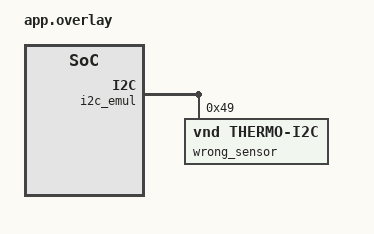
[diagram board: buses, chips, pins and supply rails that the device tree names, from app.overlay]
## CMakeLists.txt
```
cmake_minimum_required(VERSION 3.20.0)
# The application's devicetree binding lives in its dts/bindings.
list(APPEND DTS_ROOT ${CMAKE_CURRENT_SOURCE_DIR}/../..)
find_package(Zephyr REQUIRED HINTS $ENV{ZEPHYR_BASE})
project(sensor_node_system_tests LANGUAGES C)

set(APP ${CMAKE_CURRENT_SOURCE_DIR}/../../src)
target_sources(app PRIVATE
  src/test_driver.c
  src/test_node.c
  src/test_shell.c
  ${APP}/acquisition.c
  ${APP}/node.c
  ${APP}/sensor_source.c
  ${APP}/shell_cmds.c
  ${APP}/drivers/thermo_i2c.c
  ${APP}/drivers/thermo_i2c_emul.c
  ${APP}/lib/ring_buffer.c
  ${APP}/lib/moving_average.c
  ${APP}/lib/alarm.c
)
target_include_directories(app PRIVATE ${APP} ${APP}/lib)
```

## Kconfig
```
rsource "../../Kconfig.app"

source "Kconfig.zephyr"
```

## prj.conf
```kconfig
CONFIG_ZTEST=y
CONFIG_ZTEST_SHUFFLE=n

CONFIG_SENSOR=y
CONFIG_I2C=y
CONFIG_EMUL=y
CONFIG_LOG=y

# Shell commands are run through the dummy backend and their output is checked.
CONFIG_SHELL=y
CONFIG_SHELL_BACKEND_SERIAL=n
CONFIG_SHELL_BACKEND_DUMMY=y
CONFIG_SHELL_BACKEND_DUMMY_BUF_SIZE=1024
CONFIG_SHELL_DUMMY_INIT_LOG_LEVEL_NONE=y
CONFIG_SHELL_LOG_BACKEND=n

CONFIG_ASSERT=y
CONFIG_COMPILER_WARNINGS_AS_ERRORS=y
```

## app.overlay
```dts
/* The application's sensor, plus a second chip that answers with the wrong DEVICE_ID. */
#include "../../app.overlay"

&i2c_emul {
	wrong_sensor: thermo@49 {
		compatible = "vnd,thermo-i2c";
		status = "okay";
		reg = <0x49>;
		sim-device-id = <0x1234>;
	};
};
```

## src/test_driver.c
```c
#include <errno.h>

#include <zephyr/device.h>
#include <zephyr/drivers/emul.h>
#include <zephyr/drivers/sensor.h>
#include <zephyr/ztest.h>

#include "drivers/thermo_i2c.h"
#include "drivers/thermo_i2c_emul.h"

#define SENSOR DT_NODELABEL(temp_sensor)

static const struct device *const dev = DEVICE_DT_GET(SENSOR);
static const struct emul *const emul = EMUL_DT_GET(SENSOR);

static int32_t read_milli(int *err)
{
	struct sensor_value val = {0};

	*err = sensor_sample_fetch(dev);
	if (*err == 0) {
		*err = sensor_channel_get(dev, SENSOR_CHAN_AMBIENT_TEMP, &val);
	}
	return (int32_t)sensor_value_to_milli(&val);
}

static void *setup(void)
{
	zassert_true(device_is_ready(dev), "the sensor initialized (DEVICE_ID matched)");
	return NULL;
}

static void after(void *fixture)
{
	ARG_UNUSED(fixture);
	thermo_emul_fail_next(emul, 0U);
	thermo_emul_use_profile(emul);
}

ZTEST_SUITE(thermo_driver, NULL, setup, NULL, after, NULL);

/* Verifies: REQ-009 */
ZTEST(thermo_driver, test_reads_and_converts_the_temperature)
{
	static const int32_t cases[] = {25000, 21500, 0, -40000, -1500, 125000};
	int err;

	ARRAY_FOR_EACH(cases, i) {
		thermo_emul_set_milli(emul, cases[i]);
		zassert_equal(read_milli(&err), cases[i]);
		zassert_ok(err);
	}
}

/* Verifies: REQ-009 */
ZTEST(thermo_driver, test_resolution_is_one_lsb)
{
	int err;

	/* 7.8125 m°C per LSB: anything is read back within one LSB. */
	for (int32_t m = 30000; m < 30100; m += 3) {
		thermo_emul_set_milli(emul, m);
		int32_t got = read_milli(&err);

		zassert_ok(err);
		zassert_within(got, m, 8, "%d read as %d", m, got);
	}
}

/* Verifies: REQ-009 */
ZTEST(thermo_driver, test_conversion_covers_the_register_range)
{
	zassert_equal(thermo_raw_to_milli(INT16_MAX), 255992);
	zassert_equal(thermo_raw_to_milli(INT16_MIN), -256000);
	zassert_equal(thermo_raw_to_milli(0x0C80), 25000);
	zassert_equal(thermo_milli_to_raw(1000000), INT16_MAX, "clamped");
	zassert_equal(thermo_milli_to_raw(-1000000), INT16_MIN, "clamped");
}

/* Verifies: REQ-009 */
ZTEST(thermo_driver, test_one_register_read_per_fetch)
{
	uint32_t before = thermo_emul_temp_reads(emul);

	zassert_ok(sensor_sample_fetch(dev));
	zassert_equal(thermo_emul_temp_reads(emul), before + 1U);
}

/* Verifies: REQ-009 */
ZTEST(thermo_driver, test_other_channels_are_refused)
{
	struct sensor_value val;

	zassert_equal(sensor_sample_fetch_chan(dev, SENSOR_CHAN_HUMIDITY), -ENOTSUP);
	zassert_ok(sensor_sample_fetch(dev));
	zassert_equal(sensor_channel_get(dev, SENSOR_CHAN_HUMIDITY, &val), -ENOTSUP);
}

/* Verifies: REQ-011 */
ZTEST(thermo_driver, test_bus_error_is_reported_and_the_old_value_not_reused)
{
	struct sensor_value val;
	int err;

	thermo_emul_set_milli(emul, 22000);
	zassert_equal(read_milli(&err), 22000);

	thermo_emul_fail_next(emul, 1U);
	zassert_equal(sensor_sample_fetch(dev), -EIO);
	zassert_equal(sensor_channel_get(dev, SENSOR_CHAN_AMBIENT_TEMP, &val), -ENODATA,
		      "the 22.000 C from before is not handed out again");

	zassert_equal(read_milli(&err), 22000, "the next read works");
	zassert_ok(err);
}

/* Verifies: REQ-010 */
ZTEST(thermo_driver, test_a_chip_with_the_wrong_id_is_refused)
{
	const struct device *wrong = DEVICE_DT_GET(DT_NODELABEL(wrong_sensor));

	zassert_false(device_is_ready(wrong));
}
```

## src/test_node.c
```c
#include <errno.h>

#include <zephyr/drivers/emul.h>
#include <zephyr/kernel.h>
#include <zephyr/ztest.h>

#include "acquisition.h"
#include "drivers/thermo_i2c_emul.h"
#include "node.h"
#include "sensor_source.h"

static const struct emul *const emul = EMUL_DT_GET(DT_NODELABEL(temp_sensor));

K_MSGQ_DEFINE(test_queue, sizeof(struct reading), 2, 4);

static struct node_status s;

static void process(uint32_t seq, int status, int32_t milli_c)
{
	struct reading r = {.seq = seq, .status = status, .milli_c = milli_c};

	node_process(&r);
}

static void *setup(void)
{
	zassert_ok(sensor_source_init());
	return NULL;
}

static void before(void *fixture)
{
	ARG_UNUSED(fixture);
	zassert_ok(node_init());
	k_msgq_purge(&test_queue);
	thermo_emul_fail_next(emul, 0U);
	thermo_emul_use_profile(emul);
}

ZTEST_SUITE(node, NULL, setup, before, NULL, NULL);

/* Verifies: REQ-001 */
ZTEST(node, test_acquisition_queues_the_reading_with_its_sequence)
{
	struct reading r;

	thermo_emul_set_milli(emul, 23500);
	zassert_ok(acquisition_step(&test_queue, 1U));
	zassert_ok(k_msgq_get(&test_queue, &r, K_NO_WAIT));
	zassert_equal(r.seq, 1U);
	zassert_ok(r.status);
	zassert_equal(r.milli_c, 23500);
}

/* Verifies: REQ-001, REQ-011 */
ZTEST(node, test_a_failed_read_is_queued_as_an_error)
{
	struct reading r;

	thermo_emul_fail_next(emul, 1U);
	zassert_ok(acquisition_step(&test_queue, 7U));
	zassert_ok(k_msgq_get(&test_queue, &r, K_NO_WAIT));
	zassert_equal(r.seq, 7U);
	zassert_equal(r.status, -EIO);
}

/* Verifies: REQ-006 */
ZTEST(node, test_full_queue_drops_and_counts_without_blocking)
{
	struct reading r;
	int64_t start = k_uptime_get();

	zassert_ok(acquisition_step(&test_queue, 1U));
	zassert_ok(acquisition_step(&test_queue, 2U));
	zassert_equal(acquisition_step(&test_queue, 3U), -ENOMSG);
	zassert_true(k_uptime_get() - start < 50, "did not wait for room in the queue");

	node_snapshot(&s);
	zassert_equal(s.dropped, 1U);
	zassert_ok(k_msgq_get(&test_queue, &r, K_NO_WAIT));
	zassert_equal(r.seq, 1U, "the queued readings are the oldest, in order");
	zassert_ok(k_msgq_get(&test_queue, &r, K_NO_WAIT));
	zassert_equal(r.seq, 2U);
}

/* Verifies: REQ-001 */
ZTEST(node, test_gaps_in_the_sequence_are_counted)
{
	process(1U, 0, 20000);
	process(2U, 0, 20000);
	process(4U, 0, 20000);
	process(5U, 0, 20000);
	node_snapshot(&s);
	zassert_equal(s.processed, 4U);
	zassert_equal(s.out_of_order, 1U);
}

/* Verifies: REQ-002, REQ-003, REQ-004 */
ZTEST(node, test_average_drives_the_alarm)
{
	uint32_t seq = 0U;

	/* A single hot reading does not raise the alarm: the average of 8 does. */
	for (int i = 0; i < 7; i++) {
		process(++seq, 0, 25000);
	}
	process(++seq, 0, 60000);
	node_snapshot(&s);
	zassert_equal(s.average_milli_c, 29375, "(7 * 25000 + 60000) / 8");
	zassert_equal(s.state, ALARM_NORMAL);

	process(++seq, 0, 60000);
	node_snapshot(&s);
	zassert_equal(s.state, ALARM_HIGH, "(6 * 25000 + 2 * 60000) / 8 = 33750");

	for (int i = 0; i < 8; i++) {
		process(++seq, 0, 20000);
	}
	node_snapshot(&s);
	zassert_equal(s.state, ALARM_NORMAL);
	zassert_equal(s.last_milli_c, 20000);
}

/* Verifies: REQ-005 */
ZTEST(node, test_failed_reads_fault_and_a_good_one_recovers)
{
	process(1U, 0, 22000);
	process(2U, -EIO, 0);
	process(3U, -EIO, 0);
	node_snapshot(&s);
	zassert_equal(s.state, ALARM_NORMAL, "two failures are not a fault yet");
	process(4U, -EIO, 0);
	node_snapshot(&s);
	zassert_equal(s.state, ALARM_FAULT);
	zassert_equal(s.failed_reads, 3U);
	zassert_equal(s.last_milli_c, 22000, "a failed read never replaces the last value");

	process(5U, 0, 22500);
	node_snapshot(&s);
	zassert_equal(s.state, ALARM_NORMAL);
}

/* Verifies: REQ-007 */
ZTEST(node, test_history_keeps_good_readings_only)
{
	process(1U, 0, 21000);
	process(2U, -EIO, 0);
	process(3U, 0, 23000);
	node_snapshot(&s);
	zassert_equal(rb_count(&s.history), 2U);
	zassert_equal(rb_get(&s.history, 0U), 21000);
	zassert_equal(rb_get(&s.history, 1U), 23000);
}
```

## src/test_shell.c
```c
#include <errno.h>
#include <string.h>

#include <zephyr/drivers/emul.h>
#include <zephyr/kernel.h>
#include <zephyr/shell/shell.h>
#include <zephyr/shell/shell_dummy.h>
#include <zephyr/sys/util.h>
#include <zephyr/ztest.h>

#include "drivers/thermo_i2c_emul.h"
#include "node.h"
#include "sensor_source.h"

static const struct emul *const emul = EMUL_DT_GET(DT_NODELABEL(temp_sensor));
static const struct shell *sh;

static const char *run(const char *cmd, int expected)
{
	size_t size;
	int err;

	shell_backend_dummy_clear_output(sh);
	err = shell_execute_cmd(sh, cmd);
	zassert_equal(err, expected, "'%s' returned %d", cmd, err);
	return shell_backend_dummy_get_output(sh, &size);
}

/*
 * A function, not a macro: zassert evaluates its message arguments too, so a macro that
 * names `out` twice would run the shell command twice (and the second run would consume
 * an injected failure the first one was meant to see).
 */
static void assert_contains(const char *out, const char *text)
{
	zassert_not_null(strstr(out, text), "no '%s' in:\n%s", text, out);
}

static void *setup(void)
{
	sh = shell_backend_dummy_get_ptr();
	WAIT_FOR(shell_ready(sh), 20000, k_msleep(1));
	zassert_true(shell_ready(sh), "the dummy shell backend is up");
	zassert_ok(sensor_source_init());
	return NULL;
}

static void before(void *fixture)
{
	ARG_UNUSED(fixture);
	zassert_ok(node_init());
	thermo_emul_fail_next(emul, 0U);
	thermo_emul_set_milli(emul, 23125);
}

static void after(void *fixture)
{
	ARG_UNUSED(fixture);
	thermo_emul_use_profile(emul);
}

ZTEST_SUITE(shell_commands, NULL, setup, before, after, NULL);

/* Verifies: REQ-013 */
ZTEST(shell_commands, test_sensor_read)
{
	assert_contains(run("sensor read", 0), "temperature: 23.125 C");

	thermo_emul_set_milli(emul, -1500);
	assert_contains(run("sensor read", 0), "temperature: -1.500 C");
}

/* Verifies: REQ-011, REQ-013 */
ZTEST(shell_commands, test_sensor_read_reports_a_failure)
{
	assert_contains(run("sensor fail 1", 0), "the next 1 reads will fail");
	assert_contains(run("sensor read", -EIO), "read failed: -5");
	assert_contains(run("sensor read", 0), "temperature: 23.125 C");
}

/* Verifies: REQ-013 */
ZTEST(shell_commands, test_sensor_fail_checks_its_argument)
{
	(void)run("sensor fail 0", -EINVAL);
	(void)run("sensor fail 12x", -EINVAL);
	(void)run("sensor fail 101", -EINVAL);
}

/* Verifies: REQ-007, REQ-013 */
ZTEST(shell_commands, test_stats)
{
	const char *out = run("stats", 0);

	assert_contains(out, "state: NORMAL");
	assert_contains(out, "no readings yet");

	struct reading readings[] = {
		{.seq = 1U, .status = 0, .milli_c = 21000},
		{.seq = 2U, .status = -EIO, .milli_c = 0},
		{.seq = 3U, .status = 0, .milli_c = 24000},
		{.seq = 5U, .status = 0, .milli_c = 30000},
	};
	ARRAY_FOR_EACH(readings, i) {
		node_process(&readings[i]);
	}
	node_count_dropped();

	out = run("stats", 0);
	assert_contains(out, "readings: 4 processed, 1 dropped, 1 out of order, 1 failed");
	assert_contains(out, "last: 30.000 C, average: 25.000 C");
	assert_contains(out, "last 3: min 21.000 C, max 30.000 C, mean 25.000 C");
}
```
